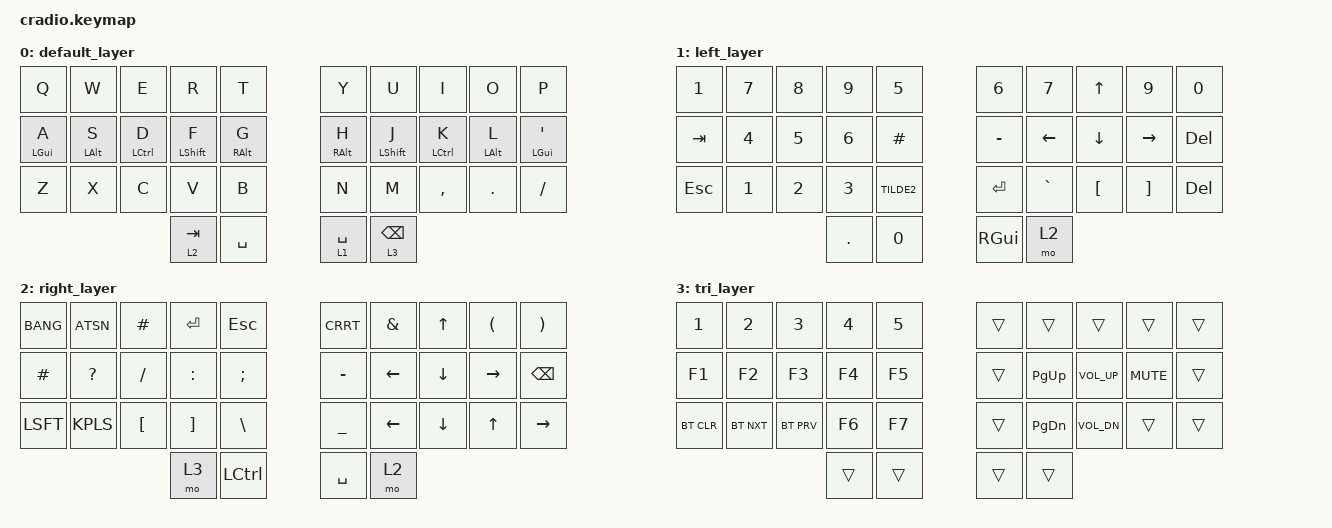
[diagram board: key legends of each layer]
/*
 * Copyright (c) 2020 The ZMK Contributors
 *
 * SPDX-License-Identifier: MIT
 */

#include <behaviors.dtsi>
#include <dt-bindings/zmk/keys.h>
#include <dt-bindings/zmk/bt.h>


&mt {
  //  flavor = "tap-preferred";
   // tapping_term_ms = <170>;
};

/ { 

    combos {
        compatible = "zmk,combos";
        combo_esc {
            timeout-ms = <50>;
            key-positions = <0 1>;
            bindings = <&kp ESC>;
        };
        
         combo_tab {
            timeout-ms = <50>;
            key-positions = <10 11>;
            bindings = <&kp TAB>;
        };
        
            combo_ralt {
            timeout-ms = <50>;
            key-positions = <17 16>;
            bindings = <&kp RALT>;
        };
        
                    combo_lalt {
            timeout-ms = <50>;
            key-positions = <11 12>;
            bindings = <&kp LALT>;
        };
        
                           combo_lgui {
            timeout-ms = <50>;
            key-positions = <12 13>;
            bindings = <&kp LGUI>;
        };
        
        
           combo_rgui {
            timeout-ms = <50>;
            key-positions = <17 18>;
            bindings = <&kp RGUI>;
        };
        

        
    };

        keymap {
                compatible = "zmk,keymap";
                
       		default_layer {
		bindings = <
		&kp Q &kp W &kp E &kp R &kp T 						&kp Y &kp U  &kp I    &kp O   &kp P 
		&mt LGUI A &mt LALT S &mt LCTRL D &mt LSHFT F &mt RALT G 			&mt RALT H &mt LSHFT J &mt LCTRL K &mt LALT L &mt LGUI QUOT
		&kp Z &kp X &kp C &kp V &kp B				                 &kp N &kp M  &kp CMMA &kp DOT &kp FSLH
          				&lt 2 TAB &kp SPC  				&lt 1 SPC &lt 3 BSPC 
		>;
		};

       		left_layer {
		bindings = <
		&kp NUM_1  &kp N7    &kp N8    &kp N9    &kp NUM_5	                 &kp NUM_6 &kp NUM_7 &kp UP &kp NUM_9 &kp NUM_0 
		&kp TAB    &kp N4    &kp N5    &kp N6     &kp HASH 		&kp MINUS &kp LEFT  &kp DOWN  &kp RIGHT  &kp DEL 
		&kp ESC    &kp N1    &kp N2    &kp N3  &kp TILDE2 	                 &kp RET &kp GRAVE &kp LBKT &kp RBKT  &kp DEL 
					    &kp DOT  &kp N0  					&kp RGUI &mo 2 
		>;
		};
		
		right_layer {
		bindings = <
		&kp BANG  &kp ATSN &kp HASH  &kp RET  &kp ESC    			        &kp CRRT  &kp AMPS &kp UP &kp LPRN &kp RPRN 
		&kp HASH  &kp QMARK  &kp FSLH  &kp COLN  &kp SCLN 			        &kp MINUS &kp LEFT  &kp DOWN  &kp RIGHT   &kp BKSP
		&kp LSFT  &kp KPLS &kp LBKT &kp RBKT   &kp BSLH    			&kp UNDER &kp LEFT &kp DOWN &kp UP  &kp RIGHT
					  &mo 3 &kp LCTL  				&kp SPC  &mo 2 
		>;
		};	
		
		tri_layer {
		bindings = <
		&kp NUM_1  &kp NUM_2    &kp NUM_3    &kp NUM_4    &kp NUM_5 			&trans &trans   &trans   &trans  &trans
		&kp F1 &kp F2 &kp F3 &kp F4 &kp F5  						&trans &kp PG_UP  &kp K_VOL_UP &kp K_MUTE &trans 
		&bt BT_CLR  &bt BT_NXT &bt BT_PRV &kp F6 &kp F7   				&trans &kp PG_DN  &kp K_VOL_DN  &trans &trans   
					 &trans &trans  					&trans &trans 
		>;
		};	
        
	};
};


//  _____________________________       _____________________________
// /  0  |  1  |  2  |  3  |  4  \     /   5 |   6 |   7 |   8 |  9  \
// | 10  | 11  | 12  | 13  | 14  |     |  15 |  16 |  17 |  18 | 19  |
// | 20  | 21  | 22  | 23  | 24  |     |  25 |  26 |  27 |  28 | 29  |
//          \   30   |    31     /     \     32    |  33    /
//           --------------------       ---------------------




